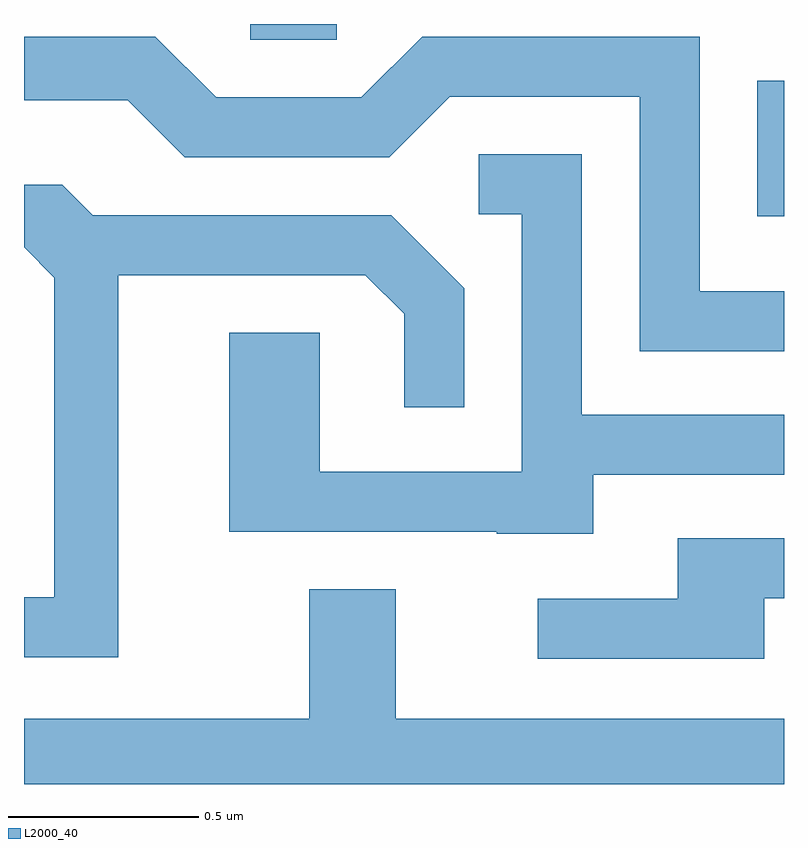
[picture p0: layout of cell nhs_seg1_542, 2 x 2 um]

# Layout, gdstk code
import gdstk
lib = gdstk.Library(unit=1e-6, precision=1e-09)
def R(c, l, rs):  # rectangles x0, y0, x1, y1
    for r in rs: c.add(gdstk.rectangle(r[:2], r[2:], *l))
def P(c, l, *ps):  # polygons
    for p in ps: c.add(gdstk.Polygon(p, *l))
L2000_40 = (2000, 40)

nhs_seg1_542 = lib.new_cell('nhs_seg1_542')
R(nhs_seg1_542, L2000_40, [(190.541,972.206,190.611,972.563), (189.206,972.671,189.434,972.712)])
P(nhs_seg1_542, L2000_40, [(190.611,972.009),(190.389,972.009),(190.389,972.679),(189.659,972.679),(189.499,972.519),(189.117,972.519),(188.957,972.679),(188.611,972.679),(188.611,972.511),(188.884,972.511),(189.034,972.361),(189.572,972.361),(189.732,972.521),(190.231,972.521),(190.231,971.851),(190.611,971.851)],
  [(190.109,971.526),(190.611,971.526),(190.611,971.684),(190.079,971.684),(190.079,972.369),(189.808,972.369),(189.808,972.211),(189.921,972.211),(189.921,971.534),(189.389,971.534),(189.389,971.899),(189.151,971.899),(189.151,971.376),(189.855,971.376),(189.855,971.371),(190.109,971.371)],
  [(188.859,972.051),(189.509,972.051),(189.611,971.949),(189.611,971.703),(189.769,971.703),(189.769,972.017),(189.577,972.209),(188.792,972.209),(188.712,972.289),(188.611,972.289),(188.611,972.124),(188.691,972.044),(188.691,971.204),(188.611,971.204),(188.611,971.046),(188.859,971.046)],
  [(190.559,971.201),(190.611,971.201),(190.611,971.359),(190.331,971.359),(190.331,971.199),(189.963,971.199),(189.963,971.041),(190.559,971.041)],
  [(190.611,970.884),(189.589,970.884),(189.589,971.224),(189.361,971.224),(189.361,970.884),(188.611,970.884),(188.611,970.712),(190.611,970.712)])

lib.write_gds('nhs_seg1_542.gds')
